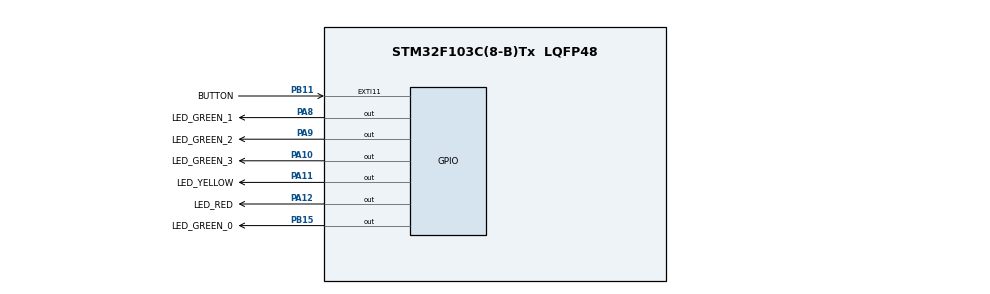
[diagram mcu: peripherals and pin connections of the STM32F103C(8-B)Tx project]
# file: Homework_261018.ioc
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Mcu.Family=STM32F1
Mcu.Name=STM32F103C(8-B)Tx
Mcu.Package=LQFP48
NVIC.EXTI15_10_IRQn=true\:15\:0\:true\:false\:true\:true\:true\:true
NVIC.PriorityGroup=NVIC_PRIORITYGROUP_4
PA10.GPIO_Label=LED_GREEN_3
PA10.Signal=GPIO_Output
PA11.GPIO_Label=LED_YELLOW
PA11.Signal=GPIO_Output
PA12.GPIO_Label=LED_RED
PA12.Signal=GPIO_Output
PA13.Mode=Serial_Wire
PA13.Signal=SYS_JTMS-SWDIO
PA14.Mode=Serial_Wire
PA14.Signal=SYS_JTCK-SWCLK
PA8.GPIO_Label=LED_GREEN_1
PA8.Signal=GPIO_Output
PA9.GPIO_Label=LED_GREEN_2
PA9.Signal=GPIO_Output
PB11.GPIO_Label=BUTTON
PB11.GPIO_PuPd=GPIO_PULLUP
PB11.Signal=GPXTI11
PB15.GPIO_Label=LED_GREEN_0
PB15.Signal=GPIO_Output
ProjectManager.HeapSize=0x200
ProjectManager.StackSize=0x400
ProjectManager.TargetToolchain=CMake
RCC.APB1Freq_Value=8000000
RCC.APB2Freq_Value=8000000
board=custom

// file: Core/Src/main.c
/* USER CODE BEGIN Header */
/**
  ******************************************************************************
  * @file           : main.c
  * @brief          : Main program body
  ******************************************************************************
  * @attention
  *
  * Copyright (c) 2026 STMicroelectronics.
  * All rights reserved.
  *
  * This software is licensed under terms that can be found in the LICENSE file
  * in the root directory of this software component.
  * If no LICENSE file comes with this software, it is provided AS-IS.
  *
  ******************************************************************************
  */
/* USER CODE END Header */
#include "main.h"
#include "gpio.h"

void SystemClock_Config(void);

/* USER CODE BEGIN 0 */

//状态，1为正序，-1为倒序
int stm = 1;

//批量调整LED亮灭
void LED_set( int lg_0, int lg_1, int lg_2, int lg_3, int ly, int lr) {
  switch (lg_0) {
    case 0:
      HAL_GPIO_WritePin(LED_GREEN_0_GPIO_Port, LED_GREEN_0_Pin, GPIO_PIN_RESET);
      break;
    case 1:
      HAL_GPIO_WritePin(LED_GREEN_0_GPIO_Port, LED_GREEN_0_Pin, GPIO_PIN_SET);
      break;
    default:
      goto label_errorHandle;
      break;
  }
  switch (lg_1) {
    case 0:
      HAL_GPIO_WritePin(LED_GREEN_1_GPIO_Port, LED_GREEN_1_Pin, GPIO_PIN_RESET);
      break;
    case 1:
      HAL_GPIO_WritePin(LED_GREEN_1_GPIO_Port, LED_GREEN_1_Pin, GPIO_PIN_SET);
      break;
    default:
      goto label_errorHandle;
      break;
  }
  switch (lg_2) {
    case 0:
      HAL_GPIO_WritePin(LED_GREEN_2_GPIO_Port, LED_GREEN_2_Pin, GPIO_PIN_RESET);
      break;
    case 1:
      HAL_GPIO_WritePin(LED_GREEN_2_GPIO_Port, LED_GREEN_2_Pin, GPIO_PIN_SET);
      break;
    default:
      goto label_errorHandle;
      break;
  }
  switch (lg_3) {
    case 0:
      HAL_GPIO_WritePin(LED_GREEN_3_GPIO_Port, LED_GREEN_3_Pin, GPIO_PIN_RESET);
      break;
    case 1:
      HAL_GPIO_WritePin(LED_GREEN_3_GPIO_Port, LED_GREEN_3_Pin, GPIO_PIN_SET);
      break;
    default:
      goto label_errorHandle;
      break;
  }
  switch (ly) {
    case 0:
      HAL_GPIO_WritePin(LED_YELLOW_GPIO_Port, LED_YELLOW_Pin, GPIO_PIN_RESET);
      break;
    case 1:
      HAL_GPIO_WritePin(LED_YELLOW_GPIO_Port, LED_YELLOW_Pin, GPIO_PIN_SET);
      break;
    default:
      goto label_errorHandle;
      break;
  }
  switch (lr) {
    case 0:
      HAL_GPIO_WritePin(LED_RED_GPIO_Port, LED_RED_Pin, GPIO_PIN_RESET);
      break;
    case 1:
      HAL_GPIO_WritePin(LED_RED_GPIO_Port, LED_RED_Pin, GPIO_PIN_SET);
      break;
    default:
      goto label_errorHandle;
      break;
  }
  return;
  label_errorHandle:
  Error_Handler();
}

/* USER CODE END 0 */

int main(void)
{

  /* MCU Configuration--------------------------------------------------------*/

  /* Reset of all peripherals, Initializes the Flash interface and the Systick. */
  HAL_Init();

  /* Configure the system clock */
  SystemClock_Config();

  /* Initialize all configured peripherals */
  MX_GPIO_Init();
  /* USER CODE BEGIN 2 */

  //循环计数变量
  int counter = -1;   //设为-1以实现从LED_GREEN_0开始亮

  /* USER CODE END 2 */

  /* Infinite loop */
  /* USER CODE BEGIN WHILE */
  while (1)
  {

    counter += stm;
    if (counter < 0) {
      counter = 5;
    }
    if (counter >= 6) {
      counter = 0;
    }

    switch (counter % 6) {
      case 0:
        LED_set(1, 0, 0, 0, 0, 0);
        break;
      case 1:
        LED_set(0, 1, 0, 0, 0, 0);
        break;
      case 2:
        LED_set(0, 0, 1, 0, 0, 0);
        break;
      case 3:
        LED_set(0, 0, 0, 1, 0, 0);
        break;
      case 4:
        LED_set(0, 0, 0, 0, 1, 0);
        break;
      case 5:
        LED_set(0, 0, 0, 0, 0, 1);
        break;
      default:
        Error_Handler();
    }

    HAL_Delay(500);
    /* USER CODE END WHILE */

  }
}

void SystemClock_Config(void)
{
  RCC_OscInitTypeDef RCC_OscInitStruct = {0};
  RCC_ClkInitTypeDef RCC_ClkInitStruct = {0};

  /** Initializes the RCC Oscillators according to the specified parameters
  * in the RCC_OscInitTypeDef structure.
  */
  RCC_OscInitStruct.OscillatorType = RCC_OSCILLATORTYPE_HSI;
  RCC_OscInitStruct.HSIState = RCC_HSI_ON;
  RCC_OscInitStruct.HSICalibrationValue = RCC_HSICALIBRATION_DEFAULT;
  RCC_OscInitStruct.PLL.PLLState = RCC_PLL_NONE;
  if (HAL_RCC_OscConfig(&RCC_OscInitStruct) != HAL_OK)
  {
    Error_Handler();
  }

  /** Initializes the CPU, AHB and APB buses clocks
  */
  RCC_ClkInitStruct.ClockType = RCC_CLOCKTYPE_HCLK|RCC_CLOCKTYPE_SYSCLK
                              |RCC_CLOCKTYPE_PCLK1|RCC_CLOCKTYPE_PCLK2;
  RCC_ClkInitStruct.SYSCLKSource = RCC_SYSCLKSOURCE_HSI;
  RCC_ClkInitStruct.AHBCLKDivider = RCC_SYSCLK_DIV1;
  RCC_ClkInitStruct.APB1CLKDivider = RCC_HCLK_DIV1;
  RCC_ClkInitStruct.APB2CLKDivider = RCC_HCLK_DIV1;

  if (HAL_RCC_ClockConfig(&RCC_ClkInitStruct, FLASH_LATENCY_0) != HAL_OK)
  {
    Error_Handler();
  }
}

void Error_Handler(void)
{
  /* USER CODE BEGIN Error_Handler_Debug */
  HAL_GPIO_WritePin(LED_GREEN_0_GPIO_Port, LED_GREEN_0_Pin, GPIO_PIN_RESET);
  HAL_GPIO_WritePin(LED_GREEN_1_GPIO_Port, LED_GREEN_1_Pin, GPIO_PIN_RESET);
  HAL_GPIO_WritePin(LED_GREEN_2_GPIO_Port, LED_GREEN_2_Pin, GPIO_PIN_RESET);
  HAL_GPIO_WritePin(LED_GREEN_3_GPIO_Port, LED_GREEN_3_Pin, GPIO_PIN_RESET);
  HAL_GPIO_WritePin(LED_YELLOW_GPIO_Port, LED_YELLOW_Pin, GPIO_PIN_RESET);
  HAL_GPIO_WritePin(LED_RED_GPIO_Port, LED_RED_Pin, GPIO_PIN_RESET);

  /* User can add his own implementation to report the HAL error return state */
  __disable_irq();
  while (1)
  {
    HAL_GPIO_TogglePin(LED_RED_GPIO_Port, LED_RED_Pin);
    HAL_Delay(1000);
  }
  /* USER CODE END Error_Handler_Debug */
}
